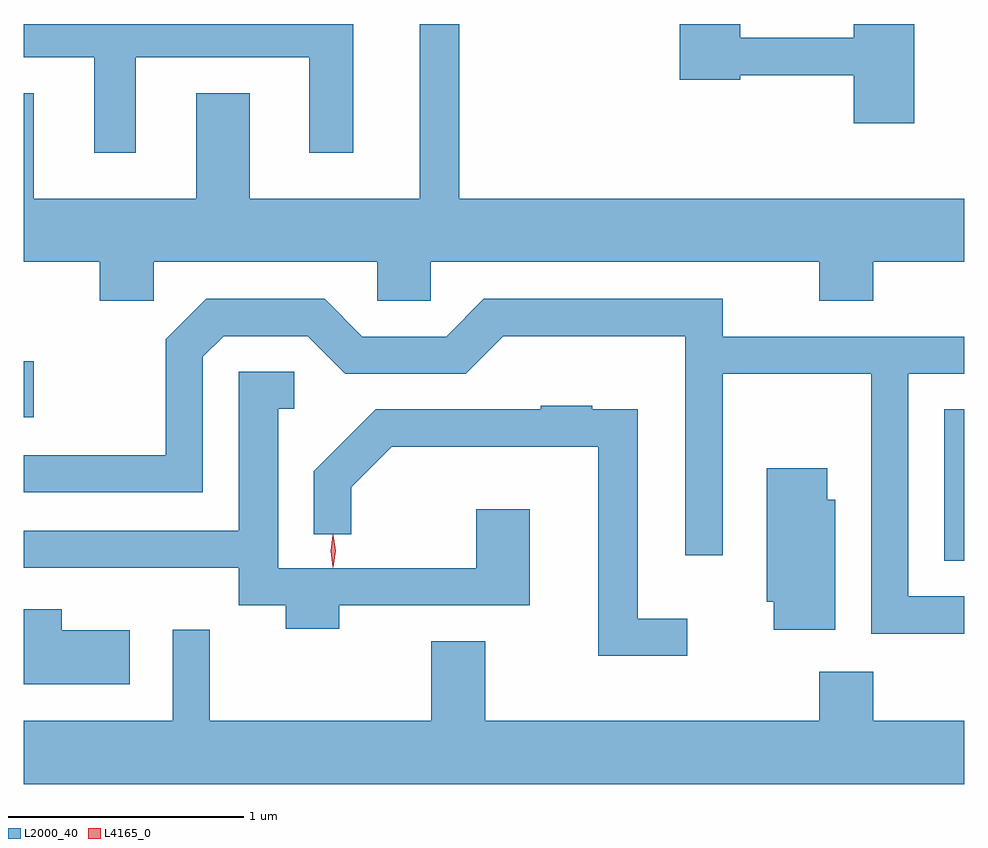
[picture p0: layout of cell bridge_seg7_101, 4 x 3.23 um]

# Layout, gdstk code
import gdstk
lib = gdstk.Library(unit=1e-6, precision=1e-09)
def R(c, l, rs):  # rectangles x0, y0, x1, y1
    for r in rs: c.add(gdstk.rectangle(r[:2], r[2:], *l))
def P(c, l, *ps):  # polygons
    for p in ps: c.add(gdstk.Polygon(p, *l))
L2000_40 = (2000, 40)
L4165_0 = (4165, 0)

bridge_seg7_101 = lib.new_cell('bridge_seg7_101')
R(bridge_seg7_101, L2000_40, [(1622.391,1753.006,1622.477,1753.649), (1618.477,1753.616,1618.519,1753.853)])
P(bridge_seg7_101, L2000_40, [(1619.029,1754.276),(1619.981,1754.276),(1619.981,1754.111),(1620.209,1754.111),(1620.209,1754.276),(1621.861,1754.276),(1621.861,1754.111),(1622.089,1754.111),(1622.089,1754.276),(1622.477,1754.276),(1622.477,1754.544),(1620.329,1754.544),(1620.329,1755.288),(1620.161,1755.288),(1620.161,1754.544),(1619.439,1754.544),(1619.439,1754.994),(1619.211,1754.994),(1619.211,1754.544),(1618.519,1754.544),(1618.519,1754.994),(1618.477,1754.994),(1618.477,1754.276),(1618.801,1754.276),(1618.801,1754.111),(1619.029,1754.111)],
  [(1618.954,1755.146),(1619.691,1755.146),(1619.691,1754.741),(1619.879,1754.741),(1619.879,1755.288),(1618.477,1755.288),(1618.477,1755.146),(1618.776,1755.146),(1618.776,1754.741),(1618.954,1754.741)],
  [(1622.264,1755.288),(1622.006,1755.288),(1622.006,1755.229),(1621.524,1755.229),(1621.524,1755.288),(1621.266,1755.288),(1621.266,1755.051),(1621.524,1755.051),(1621.524,1755.071),(1622.006,1755.071),(1622.006,1754.866),(1622.264,1754.866)],
  [(1622.477,1752.854),(1622.239,1752.854),(1622.239,1753.801),(1622.477,1753.801),(1622.477,1753.959),(1621.449,1753.959),(1621.449,1754.119),(1620.434,1754.119),(1620.274,1753.959),(1619.917,1753.959),(1619.757,1754.119),(1619.254,1754.119),(1619.081,1753.947),(1619.081,1753.454),(1618.477,1753.454),(1618.477,1753.296),(1619.239,1753.296),(1619.239,1753.874),(1619.327,1753.961),(1619.684,1753.961),(1619.844,1753.801),(1620.357,1753.801),(1620.517,1753.961),(1621.291,1753.961),(1621.291,1753.028),(1621.449,1753.028),(1621.449,1753.801),(1622.081,1753.801),(1622.081,1752.696),(1622.477,1752.696)],
  [(1619.819,1752.816),(1620.629,1752.816),(1620.629,1753.224),(1620.401,1753.224),(1620.401,1752.974),(1619.559,1752.974),(1619.559,1753.651),(1619.628,1753.651),(1619.628,1753.809),(1619.391,1753.809),(1619.391,1753.134),(1618.477,1753.134),(1618.477,1752.976),(1619.391,1752.976),(1619.391,1752.816),(1619.591,1752.816),(1619.591,1752.716),(1619.819,1752.716)],
  [(1621.298,1752.759),(1621.089,1752.759),(1621.089,1753.649),(1620.895,1753.649),(1620.895,1753.664),(1620.675,1753.664),(1620.675,1753.649),(1619.974,1753.649),(1619.711,1753.387),(1619.711,1753.118),(1619.869,1753.118),(1619.869,1753.319),(1620.042,1753.491),(1620.921,1753.491),(1620.921,1752.601),(1621.298,1752.601)],
  [(1621.929,1753.264),(1621.894,1753.264),(1621.894,1753.399),(1621.636,1753.399),(1621.636,1752.831),(1621.666,1752.831),(1621.666,1752.711),(1621.929,1752.711)],
  [(1618.929,1752.709),(1618.639,1752.709),(1618.639,1752.799),(1618.477,1752.799),(1618.477,1752.481),(1618.929,1752.481)],
  [(1622.477,1752.324),(1622.089,1752.324),(1622.089,1752.534),(1621.861,1752.534),(1621.861,1752.324),(1620.439,1752.324),(1620.439,1752.664),(1620.211,1752.664),(1620.211,1752.324),(1619.269,1752.324),(1619.269,1752.713),(1619.111,1752.713),(1619.111,1752.324),(1618.477,1752.324),(1618.477,1752.056),(1622.477,1752.056)])
P(bridge_seg7_101, L4165_0, [(1619.793,1752.977),(1619.792,1752.978),(1619.783,1753.047),(1619.792,1753.116),(1619.793,1753.117),(1619.793,1753.116),(1619.803,1753.047),(1619.793,1752.978)])

lib.write_gds('bridge_seg7_101.gds')
